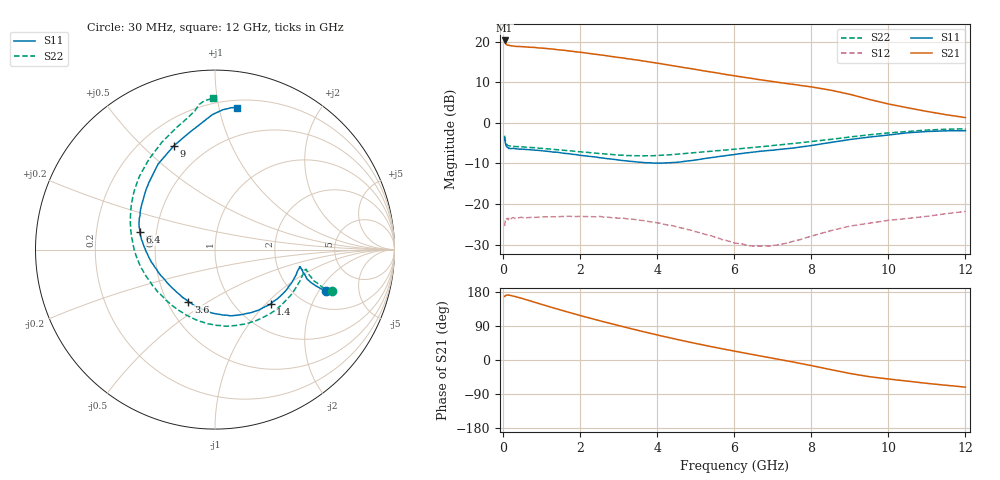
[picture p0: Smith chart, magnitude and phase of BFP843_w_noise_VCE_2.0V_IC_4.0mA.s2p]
! Infineon Technologies  Discrete & RF Semiconductors
! BFP843
! VCE =  2.0 V,  IC =  4.0 mA
! Common Emitter S-Parameters:  Aug 2013
# GHz  S  MA  R  50
!  f  S11  S21  S12  S22
! GHz  MAG  ANG  MAG  ANG  MAG  ANG  MAG  ANG
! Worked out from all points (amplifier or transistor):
!   103 points, 30 MHz to 12 GHz, reference 50 ohm
!   highest |S21| = 20.3 dB at 30 MHz (marker M1)
!   |S21| within 3 dB of that: start of sweep to 2.076 GHz
!   unconditionally stable (mu >= 1): 147.6 MHz to 960.9 MHz; 2.24 GHz to 10.91 GHz
!   at 400 MHz: K = 1.01, MAG = 20.5 dB, |S12| = -23.4 dB
!   at 3.7 GHz: K = 1.19, MAG = 17.0 dB, |S12| = -24.2 dB
!   at 12 GHz: K = 0.81, MSG = 11.6 dB, |S12| = -21.9 dB
!   lowest NFmin = 0.97 dB at 450 MHz
!   S11 on the Smith chart (normalised r, x): 30 MHz: 2.82, -2.30; 1.4 GHz: 1.43, -1.07; 3.6 GHz: 0.64, -0.41; 6.4 GHz: 0.40, +0.10; 9 GHz: 0.33, +0.63; 12 GHz: 0.26, +1.14
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0.03  0.658 -20.6  10.33 167.8  0.0533 36.0  0.6938 -19.6
0.04  0.5982 -19.8  9.866 168.2  0.0581 28.4  0.6334 -19.3
0.05  0.5664 -19.0  9.552 170.1  0.0635 23.3  0.601 -18.2
0.07  0.5226 -15.9  9.202 170.8  0.0644 16.7  0.5536 -15.7
0.13  0.4891 -12.0  9.003 171.4  0.0639 9.9  0.5211 -12.7
0.3  0.4799 -12.6  8.751 167.6  0.0665 3.9  0.5099 -14.5
0.8  0.4601 -26.3  8.482 152.6  0.0683 -1.4  0.4931 -30.9
1.4  0.4339 -44.5  7.946 134.5  0.0695 -6.0  0.4656 -52.8
1.6  0.4193 -51.0  7.801 128.6  0.0703 -7.9  0.4573 -60.2
2.1  0.3925 -67.1  7.284 114.4  0.07 -12.9  0.4339 -78.3
2.7  0.361 -86.5  6.675 98.4  0.069 -19.0  0.4097 -99.5
3.1  0.3424 -99.9  6.296 88.1  0.0673 -23.3  0.3984 -113.7
3.6  0.3251 -117.1  5.798 75.6  0.0626 -28.0  0.3915 -131.1
4.1  0.3185 -134.8  5.328 63.6  0.0576 -32.3  0.3975 -147.3
5  0.3488 -163.6  4.534 43.6  0.0454 -36.7  0.43 -170.0
6.1  0.4136 172.1  3.725 21.5  0.0326 -27.8  0.4771 168.5
6.4  0.4298 166.6  3.551 15.8  0.0305 -21.4  0.4925 163.2
7.5  0.487 145.3  2.985 -4.8  0.0344 2.6  0.5541 144.6
8.5  0.5721 123.7  2.522 -25.3  0.0468 8.1  0.6244 126.0
9  0.6219 111.7  2.241 -35.5  0.0534 5.8  0.668 116.2
10.5  0.7526 91.1  1.53 -55.8  0.0663 -0.6  0.7818 98.2
12  0.8007 81.1  1.159 -71.5  0.0808 -8.8  0.8427 90.9
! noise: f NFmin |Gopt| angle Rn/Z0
0.45  0.97  0.21  8  0.02
0.9  0.99  0.23  18  0.03
1.5  1.02  0.22  29  0.11
1.9  1.06  0.2  40  0.19
2.4  1.1  0.18  50  0.28
3.5  1.2  0.15  67  0.34
5.5  1.38  0.14  -172  0.4
10  2.27  0.52  -77  0.46
